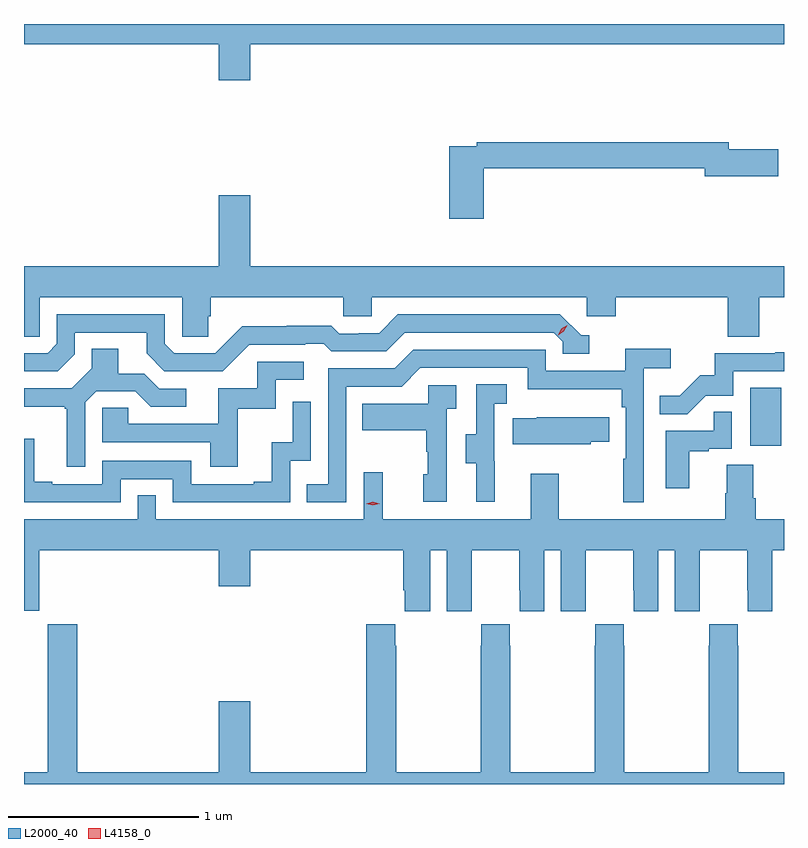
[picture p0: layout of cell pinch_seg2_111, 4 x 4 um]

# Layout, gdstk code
import gdstk
lib = gdstk.Library(unit=1e-6, precision=1e-09)
def R(c, l, rs):  # rectangles x0, y0, x1, y1
    for r in rs: c.add(gdstk.rectangle(r[:2], r[2:], *l))
def P(c, l, *ps):  # polygons
    for p in ps: c.add(gdstk.Polygon(p, *l))
L2000_40 = (2000, 40)
L4158_0 = (4158, 0)

pinch_seg2_111 = lib.new_cell('pinch_seg2_111')
R(pinch_seg2_111, L2000_40, [(1030.94,641.526,1031.104,641.833)])
P(pinch_seg2_111, L2000_40, [(1028.308,643.64),(1031.118,643.64),(1031.118,643.747),(1027.118,643.747),(1027.118,643.64),(1028.144,643.64),(1028.144,643.452),(1028.308,643.452)],
  [(1029.539,642.988),(1030.7,642.988),(1030.7,642.946),(1031.089,642.946),(1031.089,643.088),(1030.828,643.088),(1030.828,643.124),(1029.502,643.124),(1029.502,643.104),(1029.356,643.104),(1029.356,642.723),(1029.539,642.723)],
  [(1027.2,642.308),(1027.95,642.308),(1027.95,642.1),(1028.087,642.1),(1028.087,642.21),(1028.102,642.21),(1028.102,642.308),(1028.799,642.308),(1028.799,642.21),(1028.949,642.21),(1028.949,642.308),(1030.08,642.308),(1030.08,642.21),(1030.232,642.21),(1030.232,642.308),(1030.823,642.308),(1030.823,642.1),(1030.988,642.1),(1030.988,642.308),(1031.118,642.308),(1031.118,642.472),(1028.308,642.472),(1028.308,642.847),(1028.144,642.847),(1028.144,642.472),(1027.118,642.472),(1027.118,642.1),(1027.2,642.1)],
  [(1027.386,642.009),(1027.386,642.123),(1027.763,642.123),(1027.763,642.013),(1027.857,641.919),(1028.163,641.919),(1028.304,642.06),(1028.597,642.06),(1028.597,642.063),(1028.696,642.063),(1028.735,642.024),(1029.024,642.024),(1029.123,642.123),(1029.906,642.123),(1029.954,642.075),(1029.954,642.012),(1030.093,642.012),(1030.093,642.108),(1030.05,642.108),(1029.939,642.219),(1029.086,642.219),(1028.987,642.12),(1028.88,642.12),(1028.88,642.117),(1028.777,642.117),(1028.735,642.16),(1028.502,642.16),(1028.502,642.157),(1028.266,642.157),(1028.124,642.015),(1027.908,642.015),(1027.86,642.063),(1027.86,642.219),(1027.29,642.219),(1027.29,642.063),(1027.242,642.015),(1027.118,642.015),(1027.118,641.919),(1027.296,641.919)],
  [(1027.44,641.757),(1027.497,641.814),(1027.703,641.814),(1027.784,641.733),(1027.972,641.733),(1027.972,641.826),(1027.83,641.826),(1027.75,641.906),(1027.615,641.906),(1027.615,642.038),(1027.475,642.038),(1027.475,641.936),(1027.368,641.829),(1027.119,641.829),(1027.119,641.732),(1027.332,641.732),(1027.332,641.721),(1027.343,641.721),(1027.343,641.418),(1027.44,641.418)],
  [(1028.814,641.838),(1029.105,641.838),(1029.204,641.937),(1029.768,641.937),(1029.768,641.825),(1030.264,641.825),(1030.264,641.729),(1030.284,641.729),(1030.284,641.459),(1030.272,641.459),(1030.272,641.229),(1030.38,641.229),(1030.38,641.936),(1030.522,641.936),(1030.522,642.038),(1030.283,642.038),(1030.283,641.922),(1029.864,641.922),(1029.864,642.033),(1029.167,642.033),(1029.068,641.934),(1028.718,641.934),(1028.718,641.325),(1028.605,641.325),(1028.605,641.229),(1028.814,641.229)],
  [(1030.706,641.79),(1030.851,641.79),(1030.851,641.919),(1031.118,641.919),(1031.118,642.02),(1031.071,642.02),(1031.071,642.015),(1030.753,642.015),(1030.753,641.898),(1030.676,641.898),(1030.569,641.791),(1030.465,641.791),(1030.465,641.692),(1030.608,641.692)],
  [(1028.243,641.721),(1028.442,641.721),(1028.442,641.874),(1028.59,641.874),(1028.59,641.97),(1028.346,641.97),(1028.346,641.829),(1028.141,641.829),(1028.141,641.643),(1027.667,641.643),(1027.667,641.727),(1027.53,641.727),(1027.53,641.547),(1028.099,641.547),(1028.099,641.418),(1028.243,641.418)],
  [(1029.596,641.445),(1029.594,641.445),(1029.594,641.749),(1029.658,641.749),(1029.658,641.852),(1029.498,641.852),(1029.498,641.589),(1029.443,641.589),(1029.443,641.434),(1029.497,641.434),(1029.497,641.232),(1029.596,641.232)],
  [(1029.342,641.723),(1029.394,641.723),(1029.394,641.847),(1029.246,641.847),(1029.246,641.749),(1028.899,641.749),(1028.899,641.609),(1029.234,641.609),(1029.234,641.495),(1029.244,641.495),(1029.244,641.376),(1029.218,641.376),(1029.218,641.232),(1029.342,641.232)],
  [(1027.626,641.352),(1027.902,641.352),(1027.902,641.229),(1028.52,641.229),(1028.52,641.448),(1028.628,641.448),(1028.628,641.758),(1028.532,641.758),(1028.532,641.546),(1028.423,641.546),(1028.423,641.338),(1028.327,641.338),(1028.327,641.325),(1027.998,641.325),(1027.998,641.448),(1027.53,641.448),(1027.53,641.325),(1027.267,641.325),(1027.267,641.338),(1027.171,641.338),(1027.171,641.563),(1027.118,641.563),(1027.118,641.229),(1027.626,641.229)],
  [(1030.618,641.499),(1030.721,641.499),(1030.721,641.511),(1030.842,641.511),(1030.842,641.705),(1030.747,641.705),(1030.747,641.607),(1030.496,641.607),(1030.496,641.304),(1030.618,641.304)],
  [(1030.101,641.548),(1030.199,641.548),(1030.199,641.677),(1029.816,641.677),(1029.816,641.671),(1029.691,641.671),(1029.691,641.534),(1030.101,641.534)],
  [(1030.925,640.768),(1030.926,640.768),(1030.926,640.656),(1031.056,640.656),(1031.056,640.976),(1031.118,640.976),(1031.118,641.14),(1030.97,641.14),(1030.97,641.252),(1030.957,641.252),(1030.957,641.426),(1030.817,641.426),(1030.817,641.277),(1030.81,641.277),(1030.81,641.14),(1029.933,641.14),(1029.933,641.38),(1029.785,641.38),(1029.785,641.14),(1029.005,641.14),(1029.005,641.389),(1028.907,641.389),(1028.907,641.14),(1027.812,641.14),(1027.812,641.267),(1027.716,641.267),(1027.716,641.14),(1027.118,641.14),(1027.118,640.659),(1027.198,640.659),(1027.198,640.976),(1028.144,640.976),(1028.144,640.788),(1028.308,640.788),(1028.308,640.976),(1029.113,640.976),(1029.113,640.768),(1029.122,640.768),(1029.122,640.656),(1029.256,640.656),(1029.256,640.976),(1029.344,640.976),(1029.344,640.656),(1029.474,640.656),(1029.474,640.768),(1029.475,640.768),(1029.475,640.976),(1029.725,640.976),(1029.725,640.768),(1029.726,640.768),(1029.726,640.656),(1029.856,640.656),(1029.856,640.976),(1029.944,640.976),(1029.944,640.656),(1030.074,640.656),(1030.074,640.768),(1030.075,640.768),(1030.075,640.976),(1030.325,640.976),(1030.325,640.768),(1030.326,640.768),(1030.326,640.656),(1030.456,640.656),(1030.456,640.976),(1030.544,640.976),(1030.544,640.656),(1030.674,640.656),(1030.674,640.768),(1030.675,640.768),(1030.675,640.976),(1030.925,640.976)],
  [(1031.118,639.808),(1030.878,639.808),(1030.878,640.475),(1030.875,640.475),(1030.875,640.588),(1030.725,640.588),(1030.725,640.475),(1030.723,640.475),(1030.723,639.808),(1030.278,639.808),(1030.278,640.475),(1030.275,640.475),(1030.275,640.588),(1030.125,640.588),(1030.125,640.475),(1030.123,640.475),(1030.123,639.808),(1029.678,639.808),(1029.678,640.475),(1029.675,640.475),(1029.675,640.588),(1029.525,640.588),(1029.525,640.475),(1029.523,640.475),(1029.523,639.808),(1029.078,639.808),(1029.078,640.475),(1029.071,640.475),(1029.071,640.588),(1028.918,640.588),(1028.918,639.808),(1028.308,639.808),(1028.308,640.183),(1028.144,640.183),(1028.144,639.808),(1027.397,639.808),(1027.397,640.587),(1027.244,640.587),(1027.244,639.808),(1027.118,639.808),(1027.118,639.747),(1031.118,639.747)])
P(pinch_seg2_111, L4158_0, [(1028.954,641.213),(1028.919,641.222),(1028.918,641.223),(1028.919,641.223),(1028.954,641.233),(1028.99,641.223),(1028.99,641.223),(1028.99,641.222)],
  [(1029.929,642.11),(1029.929,642.11),(1029.946,642.142),(1029.977,642.161),(1029.977,642.161),(1029.977,642.161),(1029.96,642.129),(1029.929,642.11)])

lib.write_gds('pinch_seg2_111.gds')
